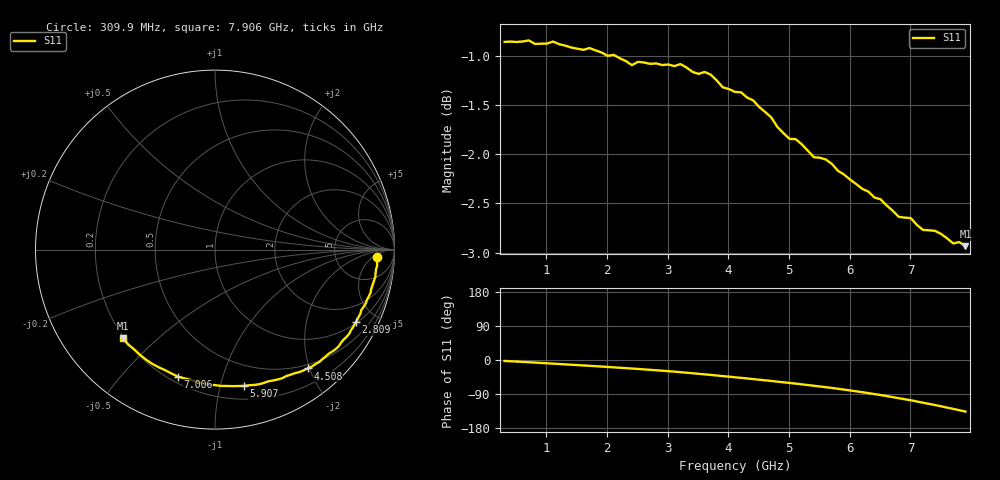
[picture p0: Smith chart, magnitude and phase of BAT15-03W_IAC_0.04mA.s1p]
! Infineon Technologies  Discrete & RF Semiconductors
! BAT15-03W-E6327
! IAC = 0.04 mA
! One-Port S-Parameters
# Hz  S  MA  R  50
!f  S11
!Hz  Mag  Ang
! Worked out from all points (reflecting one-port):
!   77 points, 309.9 MHz to 7.906 GHz, reference 50 ohm
!   lowest |S11| = -2.9 dB at 7.906 GHz (marker M1), VSWR 5.97, Z = 9.69 - j19.5 ohm
!   phase of S11 starts at -3 deg and turns -134 deg over the sweep
!   S11 on the Smith chart (normalised r, x): 309.9 MHz: 17, -8; 2.809 GHz: 1.06, -3.88; 4.508 GHz: 0.44, -1.97; 5.907 GHz: 0.31, -1.18; 7.006 GHz: 0.23, -0.72; 7.906 GHz: 0.19, -0.39
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3.0985e8  0.9061 -2.6
7.0965e8  0.9076 -5.9
8.096e8  0.9039 -6.8
1.10945e9  0.9064 -9.6
1.30935e9  0.9021 -11.5
1.70915e9  0.8996 -15.3
2.2089e9  0.8888 -20.4
2.4088e9  0.8817 -22.6
2.50875e9  0.8852 -23.6
2.8086e9  0.8835 -27.1
3.2084e9  0.8828 -32.1
3.70815e9  0.872 -39.4
4.10795e9  0.8546 -45.6
4.2079e9  0.8541 -47.2
4.50775e9  0.8395 -52.0
5.10745e9  0.8085 -62.3
5.4073e9  0.7916 -68.0
5.6072e9  0.7894 -71.8
5.90705e9  0.7756 -78.1
6.007e9  0.7711 -80.4
6.30685e9  0.7604 -87.4
6.50675e9  0.7536 -92.5
6.8066e9  0.7382 -100.8
7.0065e9  0.7371 -106.4
7.4063e9  0.7262 -118.9
7.50625e9  0.7235 -122.2
7.8061e9  0.7167 -132.5
7.90605e9  0.7133 -136.1
